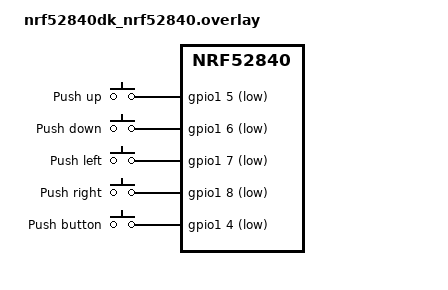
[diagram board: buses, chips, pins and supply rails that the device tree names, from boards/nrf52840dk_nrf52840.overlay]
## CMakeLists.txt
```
# SPDX-License-Identifier: Apache-2.0

cmake_minimum_required(VERSION 3.20.0)
find_package(Zephyr REQUIRED HINTS $ENV{ZEPHYR_BASE})
project(bt_joystick_adapter)

target_sources(app PRIVATE
  src/main.c
  src/stream_rx.c
)

target_sources_ifdef(CONFIG_ENABLE_LC3 app PRIVATE src/lc3.c)

if(CONFIG_USE_USB_AUDIO_OUTPUT)
  include(${ZEPHYR_BASE}/samples/subsys/usb/common/common.cmake)
  target_sources(app PRIVATE src/usb.c)
endif()
```

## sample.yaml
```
sample:
  description: Bluetooth joystick adapter sample
  name: Bluetooth joystick adapter sample
tests:
  sample.bluetooth.bt_joystick_adapter:
    harness: bluetooth
    platform_allow:
      - qemu_cortex_m3
      - qemu_x86
      - nrf5340dk/nrf5340/cpuapp
      - nrf5340bsim/nrf5340/cpuapp
      - sf32lb52_devkit_lcd/sf32lb525uc6
    integration_platforms:
      - qemu_x86
      - nrf5340dk/nrf5340/cpuapp
    tags: bluetooth
    sysbuild: true
  sample.bluetooth.bt_joystick_adapter.bt_ll_sw_split:
    harness: bluetooth
    platform_allow:
      - nrf52_bsim
      - nrf52833dk/nrf52833
      - nrf52840dongle/nrf52840
    integration_platforms:
      - nrf52_bsim
      - nrf52833dk/nrf52833
      - nrf52840dongle/nrf52840
    extra_args:
      - EXTRA_CONF_FILE=overlay-bt_ll_sw_split.conf
      - SNIPPET="bt-ll-sw-split"
    tags: bluetooth
```

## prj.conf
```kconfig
CONFIG_BT=y
CONFIG_GPIO=y
CONFIG_LOG=y
CONFIG_UTF8=y
CONFIG_BT_AUDIO=y
CONFIG_BT_SMP=y
CONFIG_BT_PAC_SNK=y
CONFIG_BT_PERIPHERAL=y
CONFIG_BT_GAP_AUTO_UPDATE_CONN_PARAMS=n
# Set preferred values based on BT_BAP_CONN_PARAM_RELAXED
CONFIG_BT_PERIPHERAL_PREF_MIN_INT=50
CONFIG_BT_PERIPHERAL_PREF_MAX_INT=70
CONFIG_BT_PERIPHERAL_PREF_LATENCY=0
CONFIG_BT_PERIPHERAL_PREF_TIMEOUT=400
CONFIG_BT_OBSERVER=y
CONFIG_BT_GATT_DYNAMIC_DB=y
CONFIG_BT_EXT_ADV=y
CONFIG_BT_PER_ADV_SYNC=y
CONFIG_BT_ISO_SYNC_RECEIVER=y
CONFIG_BT_BAP_BROADCAST_SINK=y
CONFIG_BT_BAP_SCAN_DELEGATOR=y
CONFIG_BT_ISO_MAX_CHAN=2
# Allocate 4 RX buffers per channel
CONFIG_BT_ISO_RX_BUF_COUNT=8
CONFIG_BT_BAP_BROADCAST_SNK_SUBGROUP_COUNT=2
CONFIG_BT_BAP_BROADCAST_SNK_STREAM_COUNT=2
CONFIG_BT_BAP_BASS_MAX_SUBGROUPS=2
CONFIG_BT_BUF_ACL_RX_SIZE=255
CONFIG_BT_BUF_ACL_TX_SIZE=251
CONFIG_BT_AUDIO_CODEC_CFG_MAX_METADATA_SIZE=64
CONFIG_BT_AUDIO_CODEC_CFG_MAX_DATA_SIZE=64
CONFIG_BT_AUDIO_CODEC_CAP_MAX_METADATA_SIZE=64
CONFIG_BT_AUDIO_CODEC_CAP_MAX_DATA_SIZE=64

CONFIG_BT_DEVICE_NAME="Joystick adapter"
```

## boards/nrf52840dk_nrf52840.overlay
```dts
/*
 * Wiring for the joystick buttons:
 *   1 (Up)    -> P1.05
 *   2 (Down)  -> P1.06
 *   3 (Left)  -> P1.07
 *   4 (Right) -> P1.08
 *   6 (Button)-> P1.04
 *
 * Pin-layout on the serial contact:
 * ___________
 * \5 4 3 2 1/
 *  \9_8_7_6/
 */
#include "../app.overlay"
#include <zephyr/dt-bindings/gpio/gpio.h>
#include <freq.h>
/ {

    joystick {
		compatible = "gpio-keys";

		up: up {
			gpios = <&gpio1 5 (GPIO_PULL_UP | GPIO_ACTIVE_LOW)>;
			label = "Push up";
		};

		down: down {
			gpios = <&gpio1 6 (GPIO_PULL_UP | GPIO_ACTIVE_LOW)>;
			label = "Push down";
		};

		left: left {
			gpios = <&gpio1 7 (GPIO_PULL_UP | GPIO_ACTIVE_LOW)>;
			label = "Push left";
		};

		right: right {
			gpios = <&gpio1 8 (GPIO_PULL_UP | GPIO_ACTIVE_LOW)>;
			label = "Push right";
		};

        button: button {
			gpios = <&gpio1 4 (GPIO_PULL_UP | GPIO_ACTIVE_LOW)>;
			label = "Push button";
		};
	};

    aliases {
		jsup = &up;
		jsdown = &down;
		jsleft = &left;
		jsright = &right;
		jsbtn = &button;
	};
};
```

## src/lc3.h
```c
/**
 * @file
 * @brief Bluetooth BAP Broadcast Sink LC3 header
 *
 * This files handles all the LC3 related functionality for the sample
 *
 * Copyright (c) 2025 Nordic Semiconductor ASA
 *
 * SPDX-License-Identifier: Apache-2.0
 */
#ifndef BT_JOYSTICK_ADAPTER_LC3_H
#define BT_JOYSTICK_ADAPTER_LC3_H

#include <stdbool.h>
#include <stddef.h>
#include <stdint.h>
#include <string.h>

#include <zephyr/autoconf.h>
#include <zephyr/bluetooth/audio/audio.h>
#include <zephyr/bluetooth/iso.h>
#include <zephyr/device.h>
#include <zephyr/devicetree.h>
#include <zephyr/kernel.h>
#include <zephyr/logging/log.h>
#include <zephyr/net_buf.h>
#include <zephyr/shell/shell.h>
#include <zephyr/sys/ring_buffer.h>
#include <zephyr/sys/util.h>
#include <zephyr/sys/util_macro.h>
#include <zephyr/sys_clock.h>
#include <zephyr/toolchain.h>
#include <zephyr/usb/usb_device.h>
#include <zephyr/usb/class/usb_audio.h>

#include "stream_rx.h"

#define LC3_MAX_SAMPLE_RATE_HZ     48000U
#define LC3_MAX_FRAME_DURATION_US  10000U
#define LC3_MAX_NUM_SAMPLES_MONO                                                                   \
	((LC3_MAX_FRAME_DURATION_US * LC3_MAX_SAMPLE_RATE_HZ) / USEC_PER_SEC)
#define LC3_MAX_NUM_SAMPLES_STEREO (LC3_MAX_NUM_SAMPLES_MONO * 2U)

/**
 * @brief Enables LC3 for a stream
 *
 * This will initialize the LC3 decoder given the @p stream codec configuration
 *
 * @param stream The stream to enable LC3 for

 * @retval 0 Success
 * @retval -EINVAL The stream is not LC3 codec configured or the codec configuration is invalid
 */
int lc3_enable(struct stream_rx *stream);

/**
 * @brief Disabled LC3 for a stream
 *
 * @param stream The stream to disable LC3 for

 * @retval 0 Success
 * @retval -EINVAL The stream is LC3 initialized
 */
int lc3_disable(struct stream_rx *stream);

/**
 * @brief Enqueue an SDU for decoding
 *
 * @param stream The stream that received the SDU
 * @param info Information about the SDU
 * @param buf The buffer of the SDU
 */
void lc3_enqueue_for_decoding(struct stream_rx *stream, const struct bt_iso_recv_info *info,
			      struct net_buf *buf);

/**
 * @brief Initialize the LC3 module
 *
 * This will start the thread if not already initialized
 *
 * @retval 0 Success
 * @retval -EALREADY Already initialized
 */
int lc3_init(void);
#endif /* BT_JOYSTICK_ADAPTER_LC3_H */
```

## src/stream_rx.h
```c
/*
 * Copyright (c) 2025 Nordic Semiconductor ASA
 *
 * SPDX-License-Identifier: Apache-2.0
 */
#ifndef BT_JOYSTICK_ADAPTER_STREAM_RX_H
#define BT_JOYSTICK_ADAPTER_STREAM_RX_H

#include <stddef.h>
#include <stdint.h>

#include <zephyr/autoconf.h>
#include <zephyr/bluetooth/audio/audio.h>
#include <zephyr/bluetooth/audio/bap.h>
#include <zephyr/bluetooth/iso.h>
#include <zephyr/kernel.h>
#include <zephyr/net_buf.h>

#if defined(CONFIG_LIBLC3)
#include <lc3.h>
#endif /* defined(CONFIG_LIBLC3) */

struct stream_rx {
	/* A BAP stream object */
	struct bt_bap_stream stream;
#if CONFIG_INFO_REPORTING_INTERVAL > 0
	/** Struct containing information useful for logging purposes */
	struct {
		/** Total Number of SDUs received */
		size_t recv_cnt;
		/** Number of lost SDUs */
		size_t loss_cnt;
		/** Number of SDUs containing errors */
		size_t error_cnt;
		/** Number of valid SDUs received */
		size_t valid_cnt;
		/** Number of empty SDUs received */
		size_t empty_sdu_cnt;
		/** Number of SDUs with duplicated packet sequence number received */
		size_t dup_psn_cnt;
		/** Number of SDUs with duplicated timestamps received */
		size_t dup_ts_cnt;
		/** The last received timestamp to track dup_ts_cnt */
		uint32_t last_ts;
		/** The last received sequence number to track dup_psn_cnt */
		uint16_t last_seq_num;
#if CONFIG_LIBLC3 > 0
		/** Number of SDUs decoded  */
		size_t lc3_decoded_cnt;
#endif /* CONFIG_LIBLC3 > 0 */
	} reporting_info;
#endif /* CONFIG_INFO_REPORTING_INTERVAL > 0 */

#if defined(CONFIG_LIBLC3)
	/** Octets per frame - Used to validate that the incoming data is of correct size  */
	uint16_t lc3_octets_per_frame;
	/** Frame blocks per SDU - Used to split the SDU into frame blocks when decoding */
	uint8_t lc3_frame_blocks_per_sdu;

	/** Number of channels - Used to split the SDU into frame blocks when decoding */
	uint8_t lc3_chan_cnt;

	/**
	 * @brief The configured channels of the stream
	 *
	 * Used to determine whether to send data to USB and count number of channels
	 */
	enum bt_audio_location lc3_chan_allocation;

	/** Memory use for the LC3 decoder - Supports any configuration */
	lc3_decoder_mem_48k_t lc3_decoder_mem;
	/** Reference to the LC3 decoder */
	lc3_decoder_t lc3_decoder;
#endif /* defined(CONFIG_LIBLC3) */
};

/**
 * @brief Function to call for each SDU received
 *
 * Will decode with LC3 and send to USB if enabled
 */
void stream_rx_recv(struct bt_bap_stream *bap_stream, const struct bt_iso_recv_info *info,
		    struct net_buf *buf);

size_t stream_rx_get_streaming_cnt(void);
int stream_rx_started(struct bt_bap_stream *bap_stream);
int stream_rx_stopped(struct bt_bap_stream *bap_stream);
void stream_rx_get_streams(
	struct bt_bap_stream *bap_streams[CONFIG_BT_BAP_BROADCAST_SNK_STREAM_COUNT]);

#endif /* BT_JOYSTICK_ADAPTER_STREAM_RX_H */
```

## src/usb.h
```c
/**
 * @file
 * @brief Bluetooth BAP Broadcast Sink sample USB header
 *
 * This files handles all the USB related functionality for the sample
 *
 * Copyright (c) 2025 Nordic Semiconductor ASA
 *
 * SPDX-License-Identifier: Apache-2.0
 */

#ifndef BT_JOYSTICK_ADAPTER_USB_H
#define BT_JOYSTICK_ADAPTER_USB_H
#include <stdbool.h>
#include <stddef.h>
#include <stdint.h>
#include <string.h>

#include <zephyr/autoconf.h>
#include <zephyr/bluetooth/audio/audio.h>
#include <zephyr/device.h>
#include <zephyr/devicetree.h>
#include <zephyr/kernel.h>
#include <zephyr/logging/log.h>
#include <zephyr/net_buf.h>
#include <zephyr/shell/shell.h>
#include <zephyr/sys/ring_buffer.h>
#include <zephyr/sys/util.h>
#include <zephyr/sys/util_macro.h>
#include <zephyr/sys_clock.h>
#include <zephyr/toolchain.h>
#include <zephyr/usb/usb_device.h>
#include <zephyr/usb/class/usb_audio.h>

#define USB_SAMPLE_RATE_HZ 48000U

/**
 * @brief Add decoded frame to the USB buffer
 *
 * @param chan_allocation The channel of the frame (@ref BT_AUDIO_LOCATION_FRONT_LEFT, @ref
 *                        BT_AUDIO_LOCATION_FRONT_RIGHT or @ref BT_AUDIO_LOCATION_MONO_AUDIO)
 * @param frame The frame
 * @param frame_size The size of @p in octets
 * @param ts The timestamp of the frame
 *
 * @retval 0 Success
 * @retval -EINVAL Invalid channel, frame of framesize
 * @retval -ENOEXEC Old timestamp, discarded
 * @retval -ENOMEM No memory to enqueue
 */
int usb_add_frame_to_usb(enum bt_audio_location chan_allocation, const int16_t *frame,
			 size_t frame_size, uint32_t ts);

/**
 * @brief Clear last sent SDU
 *
 * If only part of the SDU could be decoded, this should be called
 */
void usb_clear_frames_to_usb(void);

/**
 * @brief Initialize the USB module
 *
 * This will start the USB thread if not already initialized
 *
 * @retval 0 Success
 * @retval -EALREADY Already initialized
 */
int usb_init(void);

#endif /* BT_JOYSTICK_ADAPTER_USB_H */
```
